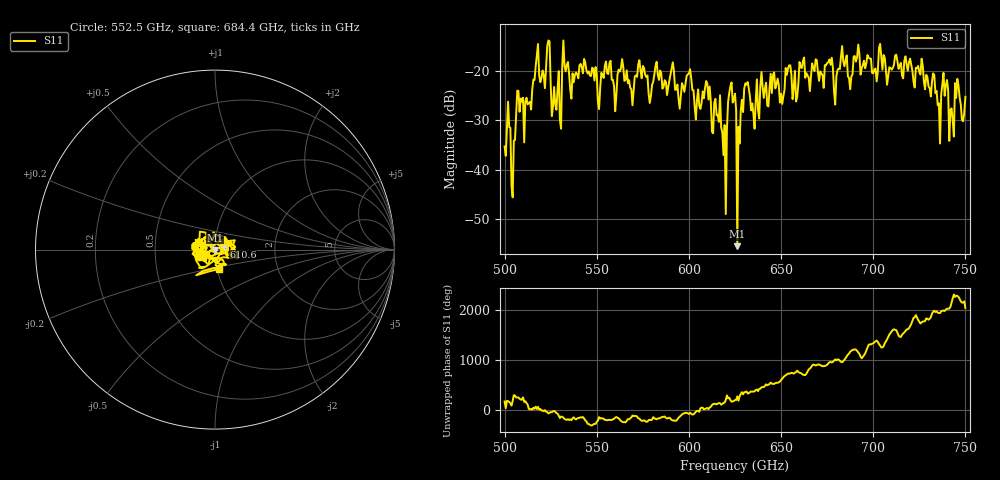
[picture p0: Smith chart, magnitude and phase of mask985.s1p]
!Created with skrf (http://scikit-rf.org).
# GHz S MA R 50.0
!freq magS11 angS11
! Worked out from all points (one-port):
!   401 points, 500 GHz to 750 GHz, reference 50 ohm
!   lowest |S11| = -55.4 dB at 626.2 GHz (marker M1), VSWR 1.00, Z = 50 - j0.169 ohm
!   |S11| at or under -10 dB: start of sweep to end of sweep
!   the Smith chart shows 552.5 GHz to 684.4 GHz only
!   S11 on the Smith chart (normalised r, x): 552.5 GHz: 0.83, -0.06; 610.6 GHz: 1.10, +0.04; 684.4 GHz: 1.03, -0.22
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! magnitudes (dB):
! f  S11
! 500 GHz  -35.3
! 505 GHz  -34.1
! 507.5 GHz  -24.1
! 511.9 GHz  -25.5
! 516.9 GHz  -19.0
! 523.8 GHz  -13.9
! 526.9 GHz  -23.3
! 531.2 GHz  -19.3
! 533.1 GHz  -20.1
! 552.5 GHz  -20.4
! 562.5 GHz  -20.2
! 593.8 GHz  -22.8
! 610.6 GHz  -25.8
! 618.8 GHz  -37.0
! 622.5 GHz  -23.2
! 625 GHz  -24.7
! 626.2 GHz  -55.4
! 631.2 GHz  -22.8
! 635 GHz  -28.8
! 656.2 GHz  -25.8
! 684.4 GHz  -19.1
! 687.5 GHz  -23.8
! 718.8 GHz  -20.0
! 735 GHz  -27.0
! 739.4 GHz  -23.1
! 742.5 GHz  -27.6
! 745.6 GHz  -21.7
! 750 GHz  -25.3
